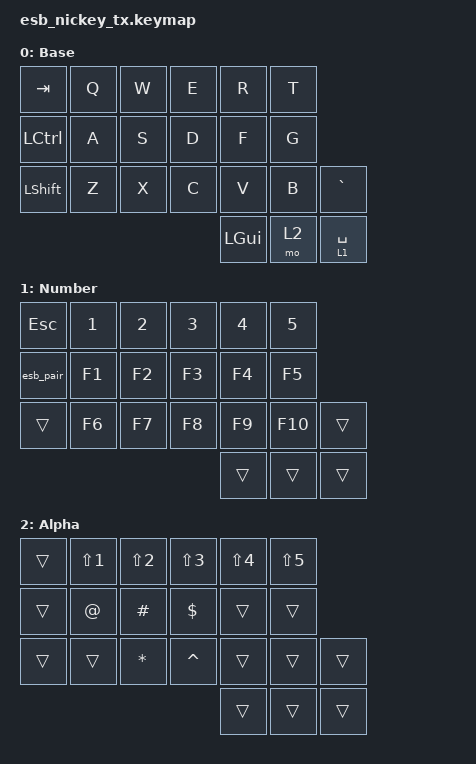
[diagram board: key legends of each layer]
/*
 * Left half (22 keys) of the Nickey keymap, ported from
 * zmk-config-nickey (config/nickey.keymap, branch DYA-Studio-v2).
 *
 * Simplifications for this ESB test config:
 * - The BT layer (layer 3) is omitted; the &mo 3 on the Number
 *   layer's inner key is &trans here.
 * - &jp_hanzen / &jp_at come from a jpkeys behavior file that is
 *   not part of this config; substituted with GRAVE / LS(NUMBER_2).
 * - Step 2: layer 1 (Number) position 6 is &esb_pair, which opens
 *   the receiver pairing window for slot 1.
 *
 * SPDX-License-Identifier: MIT
 */

#include <behaviors.dtsi>
#include <dt-bindings/zmk/keys.h>

/ {
    keymap {
        compatible = "zmk,keymap";

        default_layer {
            display-name = "Base";
            bindings = <
                &kp TAB    &kp Q  &kp W  &kp E  &kp R  &kp T
                &kp LCTRL  &kp A  &kp S  &kp D  &kp F  &kp G
                &kp LSHFT  &kp Z  &kp X  &kp C  &kp V  &kp B  &kp GRAVE
                                        &kp LGUI  &mo 2  &lt 1 SPACE
            >;
        };

        layer_1 {
            display-name = "Number";
            bindings = <
                &kp ESCAPE  &kp NUMBER_1  &kp NUMBER_2  &kp NUMBER_3  &kp NUMBER_4  &kp NUMBER_5
                &esb_pair   &kp F1        &kp F2        &kp F3        &kp F4        &kp F5
                &trans      &kp F6        &kp F7        &kp F8        &kp F9        &kp F10      &trans
                                                            &trans  &trans  &trans
            >;
        };

        layer_2 {
            display-name = "Alpha";
            bindings = <
                &trans  &kp LS(NUMBER_1)  &kp LS(NUMBER_2)  &kp LS(NUMBER_3)  &kp LS(NUMBER_4)  &kp LS(NUMBER_5)
                &trans  &kp AT            &kp HASH          &kp DOLLAR       &trans            &trans
                &trans  &trans            &kp ASTRK         &kp CARET        &trans            &trans          &trans
                                                                                    &trans  &trans  &trans
            >;
        };
    };
};
